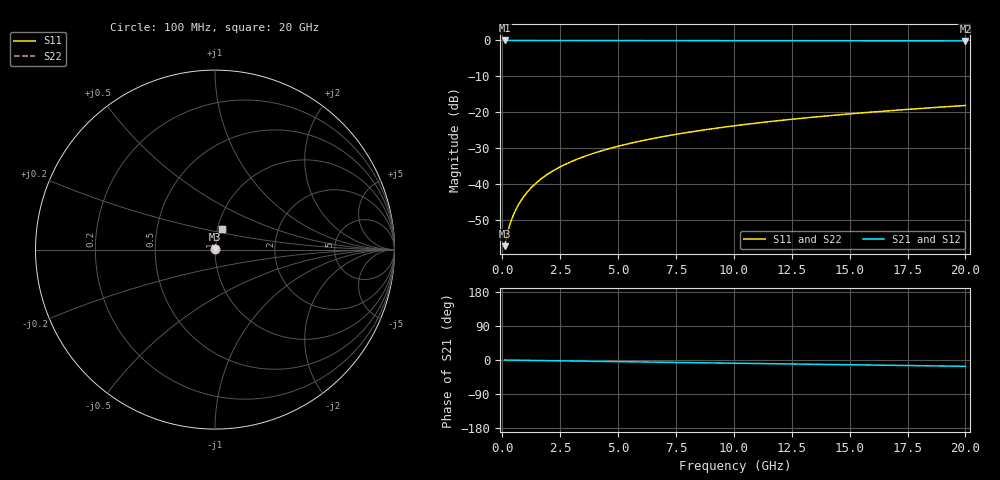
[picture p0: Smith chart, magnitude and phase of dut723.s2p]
! Touchstone file exported from HFSS 2026.1.0
!  File:  C:/ffzhzh/LocalFiles/Ansys_Project_Files/temp_train_BSMRDL_723_1783168401_43440.aedt
!  Generated:  08:34:33 PM Jul  4, 2026
!  Design:  BSMRDL
!  Project:  temp_train_BSMRDL_723_1783168401_43440
! Variables:
!  h_bsmrdl = 5.68um
!  h_ox = 20um
!  h_rdl = 5um
!  h_sub = 80um
!  h_tmrdl = 5um
!  h_tsv = 80um
!  h_via = 3um
!  l_bsmrdl = 255.03um
!  l_sub = 655.03um
!  l_tmrdl = 200um
!  m_sub = 200um
!  pitch = 31.02um
!  r_tsv = 6um
!  s_tmrdl = 10um
!  w_bsmrdl = 16.52um
!  w_sub = 500um
!  w_tmrdl = 12um
!  x_tsv_center1 = 206um
!  x_tsv_center2 = 477.55um
!  x_tsv_center3 = 689.55um
!  x_tsv_center4 = 961.1um
!  x_tsv_center5 = 1173.1um
!  x_tsv_center6 = 1444.65um
# GHz S MA R 50.000000
! Terminal data exported
! Port[1] = BSM_RDL1_1_T1
! Port[2] = BSM_RDL1_1_T2
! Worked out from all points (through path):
!   200 points, 100 MHz to 20 GHz, reference 50 ohm
!   highest |S21| = -0.01 dB at 100 MHz (marker M1); lowest = -0.1 dB at 20 GHz (marker M2)
!   group delay of S21, straight-line fit = 2.31 ps
!   lowest |S11| = -57.4 dB at 100 MHz (marker M3), VSWR 1.00, Z = 50.1 + j0.0783 ohm
!   |S11| at or under -10 dB: start of sweep to end of sweep
!   |S22| runs from -57.4 to -18.2 dB; largest |S21 - S12| = 9.2e-15
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0.1  0.001343 35.6  0.9989 -0.1  0.9989 -0.1  0.001343 35.6
! Gamma 0 0 0 0
! Port Impedance 50 0 50 0
0.2  0.001905 52.3  0.9988 -0.2  0.9988 -0.2  0.001905 52.3
0.3  0.002516 60.8  0.9988 -0.3  0.9988 -0.3  0.002516 60.8
0.4  0.003145 66.1  0.9987 -0.4  0.9987 -0.4  0.003145 66.1
0.5  0.003787 69.7  0.9987 -0.4  0.9987 -0.4  0.003787 69.7
0.6  0.004441 72.3  0.9987 -0.5  0.9987 -0.5  0.004441 72.3
0.8  0.005768 75.7  0.9986 -0.7  0.9986 -0.7  0.005768 75.7
1.1  0.007786 78.5  0.9985 -1.0  0.9985 -1.0  0.007786 78.5
1.3  0.009137 79.5  0.9985 -1.1  0.9985 -1.1  0.009137 79.5
1.6  0.01116 80.5  0.9983 -1.4  0.9983 -1.4  0.01116 80.5
2.1  0.01452 81.2  0.9981 -1.8  0.9981 -1.8  0.01452 81.2
2.7  0.0185 81.5  0.9978 -2.3  0.9978 -2.3  0.0185 81.5
3.5  0.02373 81.4  0.9974 -3.0  0.9974 -3.0  0.02373 81.4
4.2  0.02824 81.1  0.997 -3.6  0.997 -3.6  0.02824 81.1
5  0.03332 80.7  0.9965 -4.3  0.9965 -4.3  0.03332 80.7
5.9  0.03897 80.2  0.996 -5.0  0.996 -5.0  0.03897 80.2
6.8  0.04458 79.7  0.9955 -5.8  0.9955 -5.8  0.04458 79.7
8.3  0.05384 78.7  0.9946 -7.0  0.9946 -7.0  0.05384 78.7
10.1  0.06485 77.6  0.9935 -8.5  0.9935 -8.5  0.06485 77.6
13.4  0.08476 75.3  0.9913 -11.3  0.9913 -11.3  0.08476 75.3
16.7  0.1043 72.9  0.9889 -14.0  0.9889 -14.0  0.1043 72.9
20  0.1235 70.5  0.9861 -16.7  0.9861 -16.7  0.1235 70.5
